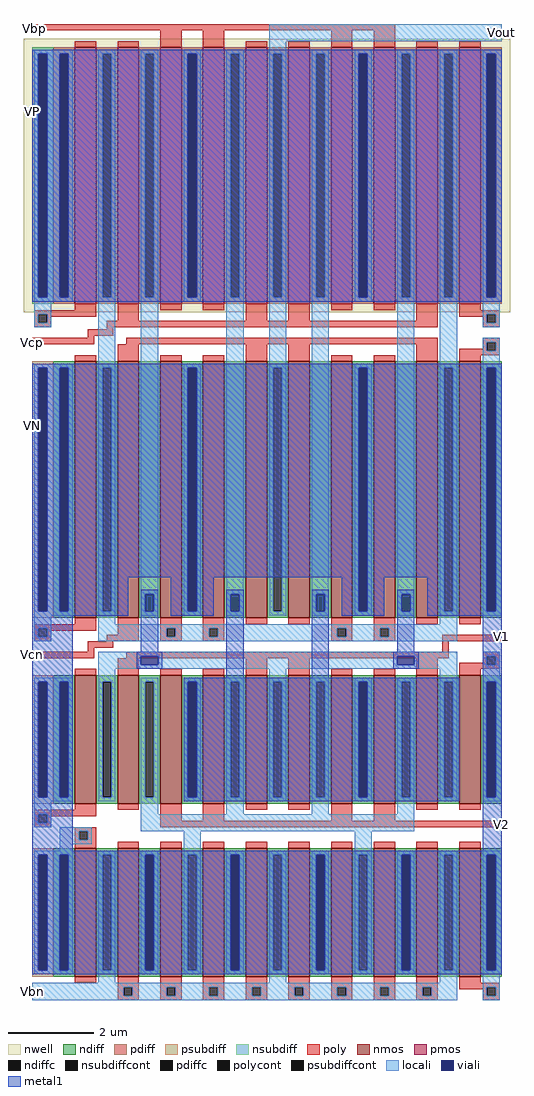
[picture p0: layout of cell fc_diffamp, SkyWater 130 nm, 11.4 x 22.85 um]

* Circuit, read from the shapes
.subckt fc_diffamp Vbn Vcn VN Vcp VP Vbp Vout V1 V2
XM1 Vbn VN VN VN sky130_fd_pr__nfet_01v8 w=3 l=0.5 m=2
XM2 n1 VN VN VN sky130_fd_pr__nfet_01v8 w=3 l=0.5 m=2
XM3 n2 VN VN VN sky130_fd_pr__nfet_01v8 w=6 l=0.5 m=2
XM4 VN Vbn Vbn VN sky130_fd_pr__nfet_01v8 w=3 l=0.5 m=4
XM5 n3 V1 n1 VN sky130_fd_pr__nfet_01v8 w=3 l=0.5 m=4
XM6 n4 Vcn n2 VN sky130_fd_pr__nfet_01v8 w=6 l=0.5
XM7 n3 Vbn VN VN sky130_fd_pr__nfet_01v8 w=3 l=0.5 m=4
XM8 n5 V2 n3 VN sky130_fd_pr__nfet_01v8 w=3 l=0.5 m=4
XM9 VN n2 n4 VN sky130_fd_pr__nfet_01v8 w=6 l=0.5
XM10 n6 n2 VN VN sky130_fd_pr__nfet_01v8 w=6 l=0.5
XM11 Vout Vcn n6 VN sky130_fd_pr__nfet_01v8 w=6 l=0.5
XM12 n7 Vcn Vout VN sky130_fd_pr__nfet_01v8 w=6 l=0.5
XM13 VN n2 n7 VN sky130_fd_pr__nfet_01v8 w=6 l=0.5
XM14 n8 n2 VN VN sky130_fd_pr__nfet_01v8 w=6 l=0.5
XM15 n2 Vcn n8 VN sky130_fd_pr__nfet_01v8 w=6 l=0.5
XM16 n2 VP VP VP sky130_fd_pr__pfet_01v8 w=6 l=0.5 m=2
XM17 n1 Vcp n2 VP sky130_fd_pr__pfet_01v8 w=6 l=0.5 m=2
XM18 VP Vbp n1 VP sky130_fd_pr__pfet_01v8 w=6 l=0.5 m=2
XM19 n5 Vbp VP VP sky130_fd_pr__pfet_01v8 w=6 l=0.5 m=2
XM20 Vout Vcp n5 VP sky130_fd_pr__pfet_01v8 w=6 l=0.5 m=2
.ends

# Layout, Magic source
magic
tech sky130A
<< nwell >>
rect -120 1245 1020 1885
<< nmos >>
rect 0 530 50 1130
rect 100 530 150 1130
rect 200 530 250 1130
rect 300 530 350 1130
rect 400 530 450 1130
rect 500 530 550 1130
rect 600 530 650 1130
rect 700 530 750 1130
rect 800 530 850 1130
rect 900 530 950 1130
rect 0 95 50 395
rect 100 95 150 395
rect 200 95 250 395
rect 300 95 350 395
rect 400 95 450 395
rect 500 95 550 395
rect 600 95 650 395
rect 700 95 750 395
rect 800 95 850 395
rect 900 95 950 395
rect 0 -310 50 -10
rect 100 -310 150 -10
rect 200 -310 250 -10
rect 300 -310 350 -10
rect 400 -310 450 -10
rect 500 -310 550 -10
rect 600 -310 650 -10
rect 700 -310 750 -10
rect 800 -310 850 -10
rect 900 -310 950 -10
<< pmos >>
rect 0 1265 50 1865
rect 100 1265 150 1865
rect 200 1265 250 1865
rect 300 1265 350 1865
rect 400 1265 450 1865
rect 500 1265 550 1865
rect 600 1265 650 1865
rect 700 1265 750 1865
rect 800 1265 850 1865
rect 900 1265 950 1865
<< ndiff >>
rect -50 1115 0 1130
rect -50 545 -35 1115
rect -15 545 0 1115
rect -50 530 0 545
rect 50 1115 100 1130
rect 50 545 65 1115
rect 85 545 100 1115
rect 50 530 100 545
rect 150 530 200 1130
rect 250 1115 300 1130
rect 250 545 265 1115
rect 285 545 300 1115
rect 250 530 300 545
rect 350 530 400 1130
rect 450 1115 500 1130
rect 450 545 465 1115
rect 485 545 500 1115
rect 450 530 500 545
rect 550 530 600 1130
rect 650 1115 700 1130
rect 650 545 665 1115
rect 685 545 700 1115
rect 650 530 700 545
rect 750 530 800 1130
rect 850 1115 900 1130
rect 850 545 865 1115
rect 885 545 900 1115
rect 850 530 900 545
rect 950 1115 1000 1130
rect 950 545 965 1115
rect 985 545 1000 1115
rect 950 530 1000 545
rect -50 380 0 395
rect -50 110 -35 380
rect -15 110 0 380
rect -50 95 0 110
rect 50 380 100 395
rect 50 110 65 380
rect 85 110 100 380
rect 50 95 100 110
rect 150 380 200 395
rect 150 110 165 380
rect 185 110 200 380
rect 150 95 200 110
rect 250 380 300 395
rect 250 110 265 380
rect 285 110 300 380
rect 250 95 300 110
rect 350 380 400 395
rect 350 110 365 380
rect 385 110 400 380
rect 350 95 400 110
rect 450 380 500 395
rect 450 110 465 380
rect 485 110 500 380
rect 450 95 500 110
rect 550 380 600 395
rect 550 110 565 380
rect 585 110 600 380
rect 550 95 600 110
rect 650 380 700 395
rect 650 110 665 380
rect 685 110 700 380
rect 650 95 700 110
rect 750 380 800 395
rect 750 110 765 380
rect 785 110 800 380
rect 750 95 800 110
rect 850 380 900 395
rect 850 110 865 380
rect 885 110 900 380
rect 850 95 900 110
rect 950 380 1000 395
rect 950 110 965 380
rect 985 110 1000 380
rect 950 95 1000 110
rect -50 -25 0 -10
rect -50 -295 -35 -25
rect -15 -295 0 -25
rect -50 -310 0 -295
rect 50 -25 100 -10
rect 50 -295 65 -25
rect 85 -295 100 -25
rect 50 -310 100 -295
rect 150 -25 200 -10
rect 150 -295 165 -25
rect 185 -295 200 -25
rect 150 -310 200 -295
rect 250 -25 300 -10
rect 250 -295 265 -25
rect 285 -295 300 -25
rect 250 -310 300 -295
rect 350 -25 400 -10
rect 350 -295 365 -25
rect 385 -295 400 -25
rect 350 -310 400 -295
rect 450 -25 500 -10
rect 450 -295 465 -25
rect 485 -295 500 -25
rect 450 -310 500 -295
rect 550 -25 600 -10
rect 550 -295 565 -25
rect 585 -295 600 -25
rect 550 -310 600 -295
rect 650 -25 700 -10
rect 650 -295 665 -25
rect 685 -295 700 -25
rect 650 -310 700 -295
rect 750 -25 800 -10
rect 750 -295 765 -25
rect 785 -295 800 -25
rect 750 -310 800 -295
rect 850 -25 900 -10
rect 850 -295 865 -25
rect 885 -295 900 -25
rect 850 -310 900 -295
rect 950 -25 1000 -10
rect 950 -295 965 -25
rect 985 -295 1000 -25
rect 950 -310 1000 -295
<< pdiff >>
rect -50 1850 0 1865
rect -50 1280 -35 1850
rect -15 1280 0 1850
rect -50 1265 0 1280
rect 50 1850 100 1865
rect 50 1280 65 1850
rect 85 1280 100 1850
rect 50 1265 100 1280
rect 150 1850 200 1865
rect 150 1280 165 1850
rect 185 1280 200 1850
rect 150 1265 200 1280
rect 250 1850 300 1865
rect 250 1280 265 1850
rect 285 1280 300 1850
rect 250 1265 300 1280
rect 350 1850 400 1865
rect 350 1280 365 1850
rect 385 1280 400 1850
rect 350 1265 400 1280
rect 450 1850 500 1865
rect 450 1280 465 1850
rect 485 1280 500 1850
rect 450 1265 500 1280
rect 550 1850 600 1865
rect 550 1280 565 1850
rect 585 1280 600 1850
rect 550 1265 600 1280
rect 650 1850 700 1865
rect 650 1280 665 1850
rect 685 1280 700 1850
rect 650 1265 700 1280
rect 750 1850 800 1865
rect 750 1280 765 1850
rect 785 1280 800 1850
rect 750 1265 800 1280
rect 850 1850 900 1865
rect 850 1280 865 1850
rect 885 1280 900 1850
rect 850 1265 900 1280
rect 950 1850 1000 1865
rect 950 1280 965 1850
rect 985 1280 1000 1850
rect 950 1265 1000 1280
<< ndiffc >>
rect -35 545 -15 1115
rect 65 545 85 1115
rect 265 545 285 1115
rect 465 545 485 1115
rect 665 545 685 1115
rect 865 545 885 1115
rect 965 545 985 1115
rect -35 110 -15 380
rect 65 110 85 380
rect 165 110 185 380
rect 265 110 285 380
rect 365 110 385 380
rect 465 110 485 380
rect 565 110 585 380
rect 665 110 685 380
rect 765 110 785 380
rect 865 110 885 380
rect 965 110 985 380
rect -35 -295 -15 -25
rect 65 -295 85 -25
rect 165 -295 185 -25
rect 265 -295 285 -25
rect 365 -295 385 -25
rect 465 -295 485 -25
rect 565 -295 585 -25
rect 665 -295 685 -25
rect 765 -295 785 -25
rect 865 -295 885 -25
rect 965 -295 985 -25
<< pdiffc >>
rect -35 1280 -15 1850
rect 65 1280 85 1850
rect 165 1280 185 1850
rect 265 1280 285 1850
rect 365 1280 385 1850
rect 465 1280 485 1850
rect 565 1280 585 1850
rect 665 1280 685 1850
rect 765 1280 785 1850
rect 865 1280 885 1850
rect 965 1280 985 1850
<< psubdiff >>
rect -100 1115 -50 1130
rect -100 545 -85 1115
rect -65 545 -50 1115
rect -100 530 -50 545
rect -100 380 -50 395
rect -100 110 -85 380
rect -65 110 -50 380
rect -100 95 -50 110
rect -100 -25 -50 -10
rect -100 -295 -85 -25
rect -65 -295 -50 -25
rect -100 -310 -50 -295
<< nsubdiff >>
rect -100 1850 -50 1865
rect -100 1280 -85 1850
rect -65 1280 -50 1850
rect -100 1265 -50 1280
<< psubdiffcont >>
rect -85 545 -65 1115
rect -85 110 -65 380
rect -85 -295 -65 -25
<< nsubdiffcont >>
rect -85 1280 -65 1850
<< poly >>
rect -95 1905 750 1920
rect 0 1865 50 1880
rect 100 1865 150 1880
rect 200 1865 250 1905
rect 300 1865 350 1905
rect 400 1865 450 1880
rect 500 1865 550 1880
rect 600 1865 650 1905
rect 700 1865 750 1905
rect 800 1865 850 1880
rect 900 1865 950 1880
rect 0 1250 50 1265
rect -95 1240 50 1250
rect -95 1220 -85 1240
rect -65 1235 50 1240
rect -65 1220 -55 1235
rect 100 1225 150 1265
rect 200 1250 250 1265
rect 300 1250 350 1265
rect 400 1225 450 1265
rect 500 1225 550 1265
rect 600 1250 650 1265
rect 700 1250 750 1265
rect 800 1225 850 1265
rect 900 1250 950 1265
rect 900 1240 995 1250
rect 900 1235 965 1240
rect -95 1210 -55 1220
rect 75 1210 850 1225
rect 955 1220 965 1235
rect 985 1220 995 1240
rect 955 1210 995 1220
rect 75 1205 90 1210
rect 30 1190 90 1205
rect 30 1185 45 1190
rect -100 1170 45 1185
rect 120 1170 850 1185
rect 0 1130 50 1145
rect 100 1130 150 1170
rect 200 1130 250 1145
rect 300 1130 350 1145
rect 400 1130 450 1170
rect 500 1130 550 1170
rect 600 1130 650 1145
rect 700 1130 750 1145
rect 800 1130 850 1170
rect 955 1175 995 1185
rect 955 1160 965 1175
rect 900 1155 965 1160
rect 985 1155 995 1175
rect 900 1145 995 1155
rect 900 1130 950 1145
rect 0 515 50 530
rect -95 505 50 515
rect -95 485 -85 505
rect -65 500 50 505
rect -65 485 -55 500
rect 100 490 150 530
rect -95 475 -55 485
rect 75 475 150 490
rect 200 505 250 530
rect 200 485 215 505
rect 235 485 250 505
rect 200 475 250 485
rect 300 505 350 530
rect 400 515 450 530
rect 500 515 550 530
rect 300 485 315 505
rect 335 485 350 505
rect 300 475 350 485
rect 600 505 650 530
rect 600 485 615 505
rect 635 485 650 505
rect 600 475 650 485
rect 700 505 750 530
rect 800 515 850 530
rect 900 515 950 530
rect 700 485 715 505
rect 735 485 750 505
rect 700 475 750 485
rect 860 475 1000 490
rect 30 460 90 475
rect 30 450 45 460
rect 860 450 875 475
rect -100 435 45 450
rect 120 435 875 450
rect 955 440 995 450
rect 0 395 50 410
rect 100 395 150 435
rect 200 395 250 410
rect 300 395 350 410
rect 400 395 450 435
rect 500 395 550 435
rect 600 395 650 410
rect 700 395 750 410
rect 800 395 850 435
rect 955 425 965 440
rect 900 420 965 425
rect 985 420 995 440
rect 900 410 995 420
rect 900 395 950 410
rect 0 80 50 95
rect 100 80 150 95
rect -95 70 50 80
rect -95 50 -85 70
rect -65 65 50 70
rect -65 50 -55 65
rect -95 40 -55 50
rect 200 55 250 95
rect 300 55 350 95
rect 400 80 450 95
rect 500 80 550 95
rect 600 55 650 95
rect 700 55 750 95
rect 800 80 850 95
rect 900 80 950 95
rect 200 40 1000 55
rect 0 30 50 40
rect 0 10 10 30
rect 30 10 50 30
rect 0 -10 50 10
rect 100 -10 150 5
rect 200 -10 250 5
rect 300 -10 350 5
rect 400 -10 450 5
rect 500 -10 550 5
rect 600 -10 650 5
rect 700 -10 750 5
rect 800 -10 850 5
rect 900 -10 950 5
rect 0 -325 50 -310
rect 100 -335 150 -310
rect 100 -355 115 -335
rect 135 -355 150 -335
rect 100 -365 150 -355
rect 200 -335 250 -310
rect 200 -355 215 -335
rect 235 -355 250 -335
rect 200 -365 250 -355
rect 300 -335 350 -310
rect 300 -355 315 -335
rect 335 -355 350 -335
rect 300 -365 350 -355
rect 400 -335 450 -310
rect 400 -355 415 -335
rect 435 -355 450 -335
rect 400 -365 450 -355
rect 500 -335 550 -310
rect 500 -355 515 -335
rect 535 -355 550 -335
rect 500 -365 550 -355
rect 600 -335 650 -310
rect 600 -355 615 -335
rect 635 -355 650 -335
rect 600 -365 650 -355
rect 700 -335 750 -310
rect 700 -355 715 -335
rect 735 -355 750 -335
rect 700 -365 750 -355
rect 800 -335 850 -310
rect 800 -355 815 -335
rect 835 -355 850 -335
rect 900 -325 950 -310
rect 900 -335 995 -325
rect 900 -340 965 -335
rect 800 -365 850 -355
rect 955 -355 965 -340
rect 985 -355 995 -335
rect 955 -365 995 -355
<< polycont >>
rect -85 1220 -65 1240
rect 965 1220 985 1240
rect 965 1155 985 1175
rect -85 485 -65 505
rect 215 485 235 505
rect 315 485 335 505
rect 615 485 635 505
rect 715 485 735 505
rect 965 420 985 440
rect -85 50 -65 70
rect 10 10 30 30
rect 115 -355 135 -335
rect 215 -355 235 -335
rect 315 -355 335 -335
rect 415 -355 435 -335
rect 515 -355 535 -335
rect 615 -355 635 -335
rect 715 -355 735 -335
rect 815 -355 835 -335
rect 965 -355 985 -335
<< locali >>
rect 455 1880 1000 1920
rect -95 1850 -5 1860
rect -95 1280 -85 1850
rect -65 1280 -35 1850
rect -15 1280 -5 1850
rect -95 1270 -5 1280
rect 55 1850 95 1860
rect 55 1280 65 1850
rect 85 1280 95 1850
rect -95 1240 -55 1270
rect -95 1220 -85 1240
rect -65 1220 -55 1240
rect -95 1210 -55 1220
rect -95 1115 -5 1125
rect -95 545 -85 1115
rect -65 545 -35 1115
rect -15 545 -5 1115
rect -95 535 -5 545
rect 55 1115 95 1280
rect 55 545 65 1115
rect 85 545 95 1115
rect -95 505 -55 535
rect -95 485 -85 505
rect -65 485 -55 505
rect -95 475 -55 485
rect 55 515 95 545
rect 155 1850 195 1860
rect 155 1280 165 1850
rect 185 1280 195 1850
rect 155 585 195 1280
rect 255 1850 295 1860
rect 255 1280 265 1850
rect 285 1280 295 1850
rect 255 1270 295 1280
rect 355 1850 395 1860
rect 355 1280 365 1850
rect 385 1280 395 1850
rect 155 545 165 585
rect 185 545 195 585
rect 155 535 195 545
rect 255 1115 295 1125
rect 255 545 265 1115
rect 285 545 295 1115
rect 255 535 295 545
rect 355 585 395 1280
rect 355 545 365 585
rect 385 545 395 585
rect 355 535 395 545
rect 455 1850 495 1880
rect 455 1280 465 1850
rect 485 1280 495 1850
rect 455 1115 495 1280
rect 455 545 465 1115
rect 485 545 495 1115
rect 455 535 495 545
rect 555 1850 595 1860
rect 555 1280 565 1850
rect 585 1280 595 1850
rect 555 585 595 1280
rect 655 1850 695 1860
rect 655 1280 665 1850
rect 685 1280 695 1850
rect 655 1270 695 1280
rect 755 1850 795 1860
rect 755 1280 765 1850
rect 785 1280 795 1850
rect 555 545 565 585
rect 585 545 595 585
rect 555 535 595 545
rect 655 1115 695 1125
rect 655 545 665 1115
rect 685 545 695 1115
rect 655 535 695 545
rect 755 585 795 1280
rect 755 545 765 585
rect 785 545 795 585
rect 755 535 795 545
rect 855 1850 895 1860
rect 855 1280 865 1850
rect 885 1280 895 1850
rect 855 1115 895 1280
rect 955 1850 1000 1860
rect 955 1280 965 1850
rect 985 1280 1000 1850
rect 955 1270 1000 1280
rect 955 1240 995 1270
rect 955 1220 965 1240
rect 985 1220 995 1240
rect 955 1210 995 1220
rect 855 545 865 1115
rect 885 545 895 1115
rect 855 515 895 545
rect 955 1175 995 1185
rect 955 1155 965 1175
rect 985 1155 995 1175
rect 955 1125 995 1155
rect 955 1115 1000 1125
rect 955 545 965 1115
rect 985 545 1000 1115
rect 955 535 1000 545
rect 55 505 895 515
rect 55 485 215 505
rect 235 485 315 505
rect 335 485 615 505
rect 635 485 715 505
rect 735 485 895 505
rect 55 475 895 485
rect 55 440 895 450
rect 55 420 155 440
rect 195 420 755 440
rect 795 420 895 440
rect 55 410 895 420
rect -95 380 -5 390
rect -95 110 -85 380
rect -65 110 -35 380
rect -15 110 -5 380
rect -95 100 -5 110
rect 55 380 95 410
rect 55 110 65 380
rect 85 110 95 380
rect 55 100 95 110
rect 155 380 195 390
rect 155 110 165 380
rect 185 110 195 380
rect -95 70 -55 100
rect -95 50 -85 70
rect -65 50 -55 70
rect -95 40 -55 50
rect 155 70 195 110
rect 255 380 295 390
rect 255 110 265 380
rect 285 110 295 380
rect 255 100 295 110
rect 355 380 395 390
rect 355 110 365 380
rect 385 110 395 380
rect 355 70 395 110
rect 455 380 495 410
rect 455 110 465 380
rect 485 110 495 380
rect 455 100 495 110
rect 555 380 595 390
rect 555 110 565 380
rect 585 110 595 380
rect 555 70 595 110
rect 655 380 695 390
rect 655 110 665 380
rect 685 110 695 380
rect 655 100 695 110
rect 755 380 795 390
rect 755 110 765 380
rect 785 110 795 380
rect 755 70 795 110
rect 855 380 895 410
rect 855 110 865 380
rect 885 110 895 380
rect 855 100 895 110
rect 955 440 995 450
rect 955 420 965 440
rect 985 420 995 440
rect 955 390 995 420
rect 955 380 1000 390
rect 955 110 965 380
rect 985 110 1000 380
rect 955 100 1000 110
rect -35 30 40 40
rect 155 30 795 70
rect -35 10 10 30
rect 30 10 40 30
rect -35 0 40 10
rect -35 -15 -5 0
rect -95 -25 -5 -15
rect -95 -295 -85 -25
rect -65 -295 -35 -25
rect -15 -295 -5 -25
rect -95 -305 -5 -295
rect 55 -25 95 -15
rect 55 -295 65 -25
rect 85 -295 95 -25
rect 55 -325 95 -295
rect 155 -25 195 -15
rect 155 -295 165 -25
rect 185 -295 195 -25
rect 155 -305 195 -295
rect 255 -25 295 30
rect 255 -295 265 -25
rect 285 -295 295 -25
rect 255 -305 295 -295
rect 355 -25 395 -15
rect 355 -295 365 -25
rect 385 -295 395 -25
rect 355 -305 395 -295
rect 455 -25 495 -15
rect 455 -295 465 -25
rect 485 -295 495 -25
rect 455 -325 495 -295
rect 555 -25 595 -15
rect 555 -295 565 -25
rect 585 -295 595 -25
rect 555 -305 595 -295
rect 655 -25 695 30
rect 655 -295 665 -25
rect 685 -295 695 -25
rect 655 -305 695 -295
rect 755 -25 795 -15
rect 755 -295 765 -25
rect 785 -295 795 -25
rect 755 -305 795 -295
rect 855 -25 895 -15
rect 855 -295 865 -25
rect 885 -295 895 -25
rect 855 -325 895 -295
rect -100 -335 895 -325
rect -100 -355 115 -335
rect 135 -355 215 -335
rect 235 -355 315 -335
rect 335 -355 415 -335
rect 435 -355 515 -335
rect 535 -355 615 -335
rect 635 -355 715 -335
rect 735 -355 815 -335
rect 835 -355 895 -335
rect -100 -365 895 -355
rect 955 -25 1000 -15
rect 955 -295 965 -25
rect 985 -295 1000 -25
rect 955 -305 1000 -295
rect 955 -335 995 -305
rect 955 -355 965 -335
rect 985 -355 995 -335
rect 955 -365 995 -355
<< viali >>
rect -85 1280 -65 1850
rect -35 1280 -15 1850
rect -85 545 -65 1115
rect -35 545 -15 1115
rect 265 1280 285 1850
rect 165 545 185 585
rect 265 545 285 1115
rect 365 545 385 585
rect 665 1280 685 1850
rect 565 545 585 585
rect 665 545 685 1115
rect 765 545 785 585
rect 965 1280 985 1850
rect 965 545 985 1115
rect 155 420 195 440
rect 755 420 795 440
rect -85 110 -65 380
rect -35 110 -15 380
rect 265 110 285 380
rect 665 110 685 380
rect 965 110 985 380
rect -85 -295 -65 -25
rect -35 -295 -15 -25
rect 165 -295 185 -25
rect 365 -295 385 -25
rect 565 -295 585 -25
rect 765 -295 785 -25
rect 965 -295 985 -25
<< metal1 >>
rect -100 1850 1000 1860
rect -100 1280 -85 1850
rect -65 1280 -35 1850
rect -15 1280 265 1850
rect 285 1280 665 1850
rect 685 1280 965 1850
rect 985 1280 1000 1850
rect -100 1270 1000 1280
rect -100 1115 1000 1125
rect -100 545 -85 1115
rect -65 545 -35 1115
rect -15 625 265 1115
rect -15 545 125 625
rect -100 535 125 545
rect 155 585 195 595
rect 155 545 165 585
rect 185 545 195 585
rect -100 380 -5 535
rect 155 450 195 545
rect 225 545 265 625
rect 285 625 665 1115
rect 285 545 325 625
rect 225 535 325 545
rect 355 585 395 595
rect 355 545 365 585
rect 385 545 395 585
rect 145 440 205 450
rect 145 420 155 440
rect 195 420 205 440
rect 145 410 205 420
rect 355 390 395 545
rect 555 585 595 595
rect 555 545 565 585
rect 585 545 595 585
rect 555 390 595 545
rect 625 545 665 625
rect 685 625 965 1115
rect 685 545 725 625
rect 625 535 725 545
rect 755 585 795 595
rect 755 545 765 585
rect 785 545 795 585
rect 755 450 795 545
rect 825 545 965 625
rect 985 545 1000 1115
rect 825 535 1000 545
rect 745 440 805 450
rect 745 420 755 440
rect 795 420 805 440
rect 745 410 805 420
rect -100 110 -85 380
rect -65 110 -35 380
rect -15 110 -5 380
rect -100 -15 -5 110
rect 255 380 900 390
rect 255 110 265 380
rect 285 110 665 380
rect 685 110 900 380
rect 255 100 900 110
rect 955 380 1000 535
rect 955 110 965 380
rect 985 110 1000 380
rect 955 -15 1000 110
rect -100 -25 1000 -15
rect -100 -295 -85 -25
rect -65 -295 -35 -25
rect -15 -295 165 -25
rect 185 -295 365 -25
rect 385 -295 565 -25
rect 585 -295 765 -25
rect 785 -295 965 -25
rect 985 -295 1000 -25
rect -100 -305 1000 -295
<< labels >>
rlabel poly -100 445 -100 445 7 Vcn
port 2 w
rlabel locali -100 -345 -100 -345 7 Vbn
port 1 w
rlabel metal1 -100 980 -100 980 7 VN
port 3 w
rlabel poly -100 1175 -100 1175 7 Vcp
port 4 w
rlabel metal1 -100 1715 -100 1715 7 VP
port 5 w
rlabel poly -95 1910 -95 1910 7 Vbp
port 6 w
rlabel locali 1000 1900 1000 1900 3 Vout
port 7 e
rlabel poly 1000 485 1000 485 3 V1
port 8 e
rlabel poly 1000 45 1000 45 3 V2
port 9 e
<< end >>
